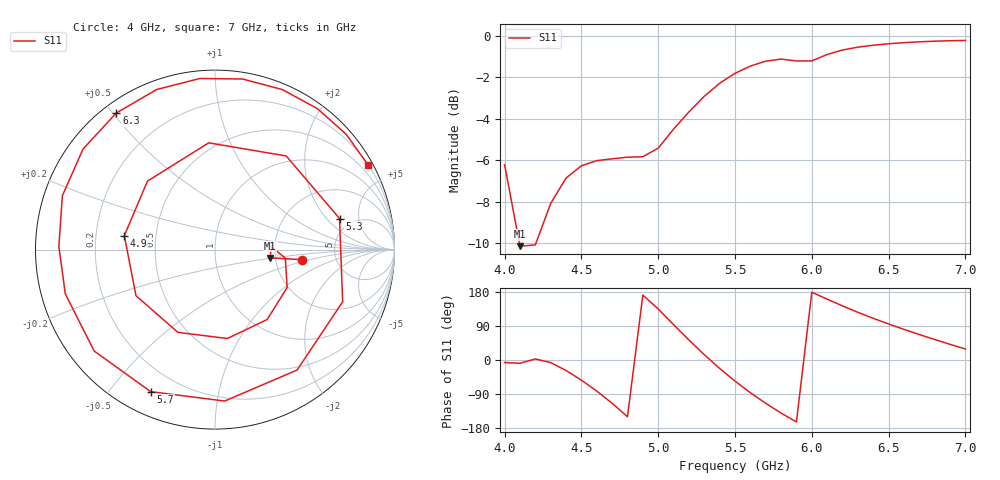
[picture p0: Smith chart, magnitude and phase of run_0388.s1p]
! Touchstone file exported from HFSS 2024.2.0
!  File:  C:/Users/wsak9/Desktop/Sim Fast/Widenad Patch/WP_AI_V1_sweep.aedt
!  Generated:  07:37:48 AM Oct 14, 2026
!  Design:  A1_model
!  Project:  WP_AI_V1_sweep
!  Setup:  Setup1
!  Solution:  Sweep
! Variables:
!  Air_gap = 2.19mm
!  Curve_Amp1 = 1.01
!  Curve_len1 = 1
!  Curve_pos = 12.425mm
!  Extra = 6.58mm
!  H_sub = 0.79mm
!  L_Patch = 20.85mm
!  L_Patch1 = 19.73mm
!  Sx = 0.32mm
!  Sy = 0.43mm
!  WS = 1.02mm
!  W_Patch = 11.39mm
!  W_Patch1 = 13.15mm
!Data is not renormalized
# GHz S MA
! Terminal data exported
! Port[1] = 1
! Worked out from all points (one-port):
!   31 points, 4 GHz to 7 GHz, reference per port
!   lowest |S11| = -10.1 dB at 4.1 GHz (marker M1), VSWR 1.90
!   |S11| at or under -10 dB: 4.096 GHz to 4.204 GHz (107.7 MHz wide, 2.6 % of centre)
!   S11 on the Smith chart (normalised r, x): 4 GHz: 2.84, -0.42; 4.9 GHz: 0.33, +0.07; 5.3 GHz: 3.95, +2.80; 5.7 GHz: 0.10, -0.64; 6.3 GHz: 0.04, +0.51; 7 GHz: 0.20, +3.86
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4  0.4887 -6.6
4.1  0.3111 -8.6
4.2  0.3133 2.8
4.3  0.3944 -6.8
4.4  0.454 -27.7
4.5  0.4861 -53.2
4.6  0.5001 -82.0
4.7  0.5053 -114.1
4.8  0.5098 -149.7
4.9  0.511 171.3
5  0.536 134.6
5.1  0.5959 93.3
5.2  0.6554 52.8
5.3  0.715 14.0
5.4  0.7684 -22.2
5.5  0.8121 -55.7
5.6  0.8455 -86.4
5.7  0.8687 -114.4
5.8  0.879 -140.0
5.9  0.8697 -163.5
6.1  0.9018 160.6
6.2  0.9243 142.7
6.3  0.939 125.8
6.4  0.9493 110.0
6.5  0.9569 95.1
6.7  0.9673 67.2
6.9  0.9732 41.4
7  0.9747 29.0
